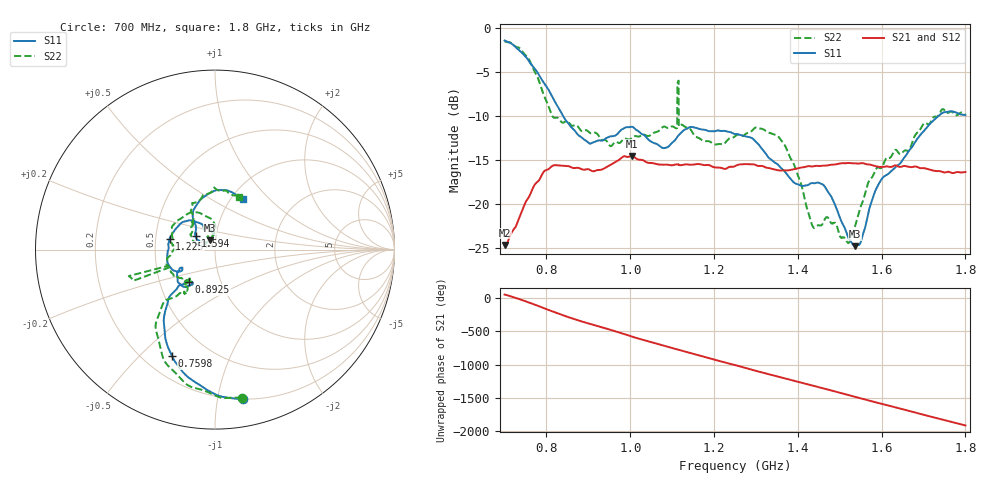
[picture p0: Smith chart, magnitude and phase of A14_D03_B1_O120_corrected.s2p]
! Created with skrf 1.9.0 (http://scikit-rf.org).
# Hz S RI R 50.0
!freq ReS11 ImS11 ReS21 ImS21 ReS12 ImS12 ReS22 ImS22
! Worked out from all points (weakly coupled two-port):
!   1601 points, 700 MHz to 1.8 GHz, reference 50 ohm
!   highest |S21| = -14.54 dB at 1.004 GHz (marker M1); lowest = -24.6 dB at 700.7 MHz (marker M2)
!   lowest |S11| = -24.8 dB at 1.537 GHz (marker M3), VSWR 1.12, Z = 47.2 + j4.89 ohm
!   |S11| at or under -10 dB: 839.6 MHz to 1.735 GHz (895.6 MHz wide, 69.6 % of centre)
!   |S22| runs from -24.4 to -1.5 dB; largest |S21 - S12| = 0.0035
!   S11 on the Smith chart (normalised r, x): 700 MHz: 0.20, -1.19; 759.8 MHz: 0.31, -0.63; 892.5 MHz: 0.71, -0.27; 1.225 GHz: 0.59, +0.08; 1.594 GHz: 0.80, +0.12; 1.8 GHz: 1.13, +0.71
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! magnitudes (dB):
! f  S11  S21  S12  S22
! 700 MHz  -1.4  -24.6  -24.4  -1.5
! 700.7 MHz  -1.4  -24.6  -24.3  -1.5
! 759.8 MHz  -3.9  -19.0  -18.9  -3.7
! 814.8 MHz  -7.9  -15.6  -15.7  -10.1
! 883.6 MHz  -12.4  -16.0  -15.9  -11.7
! 892.5 MHz  -12.8  -16.1  -16.1  -11.6
! 1.004 GHz  -11.2  -14.5  -14.7  -12.5
! 1.067 GHz  -13.3  -15.5  -15.4  -11.7
! 1.118 GHz  -12.1  -15.6  -15.5  -11.1
! 1.157 GHz  -11.4  -15.5  -15.5  -12.4
! 1.225 GHz  -11.7  -16.0  -16.0  -13.1
! 1.25 GHz  -12.0  -15.7  -15.6  -12.3
! 1.356 GHz  -15.7  -16.2  -16.1  -12.5
! 1.394 GHz  -17.7  -16.0  -16.0  -16.0
! 1.434 GHz  -17.6  -15.7  -15.7  -22.3
! 1.467 GHz  -18.2  -15.6  -15.6  -21.6
! 1.52 GHz  -23.7  -15.3  -15.3  -24.4
! 1.537 GHz  -24.8  -15.4  -15.4  -22.5
! 1.594 GHz  -17.7  -15.8  -15.8  -15.9
! 1.617 GHz  -16.5  -15.8  -15.7  -14.8
! 1.739 GHz  -9.9  -16.3  -16.3  -9.7
! 1.8 GHz  -9.9  -16.4  -16.4  -9.8
